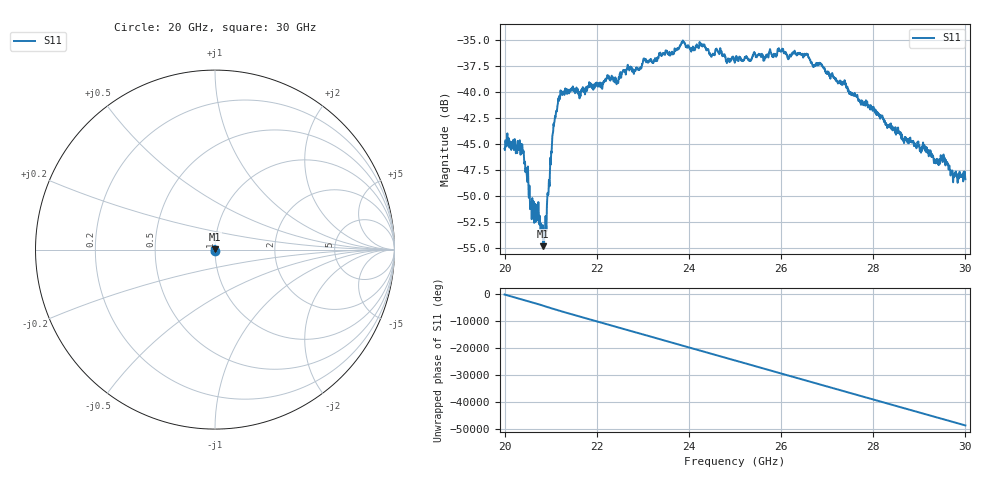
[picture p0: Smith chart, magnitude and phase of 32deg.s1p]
#  HZ  S  RI  R  50.00
! Rohde & Schwarz ZVA40 4Ports - Version 3.90 - 1145.1110k42 SN: 100403
! Date: 2023-10-03 11:48:32
! Measurement: S12
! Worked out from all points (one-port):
!   5001 points, 20 GHz to 30 GHz, reference 50 ohm
!   lowest |S11| = -54.9 dB at 20.84 GHz (marker M1), VSWR 1.00, Z = 50 + j0.18 ohm
!   |S11| at or under -10 dB: start of sweep to end of sweep
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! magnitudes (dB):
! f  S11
! 20 GHz  -45.4
! 20.07 GHz  -44.6
! 20.37 GHz  -45.5
! 20.6 GHz  -50.7
! 20.74 GHz  -52.1
! 20.84 GHz  -54.9
! 20.88 GHz  -52.3
! 21.08 GHz  -42.9
! 21.19 GHz  -40.3
! 21.25 GHz  -40.3
! 22.5 GHz  -38.2
! 23.75 GHz  -35.7
! 23.86 GHz  -35.0
! 24.08 GHz  -35.7
! 24.27 GHz  -35.6
! 24.49 GHz  -36.6
! 24.64 GHz  -36.2
! 24.85 GHz  -36.8
! 25 GHz  -37.1
! 26.25 GHz  -36.3
! 26.88 GHz  -37.4
! 27.5 GHz  -40.0
! 28.75 GHz  -44.8
! 29.12 GHz  -45.5
! 29.38 GHz  -46.5
! 29.51 GHz  -46.7
! 29.72 GHz  -47.8
! 30 GHz  -48.4
